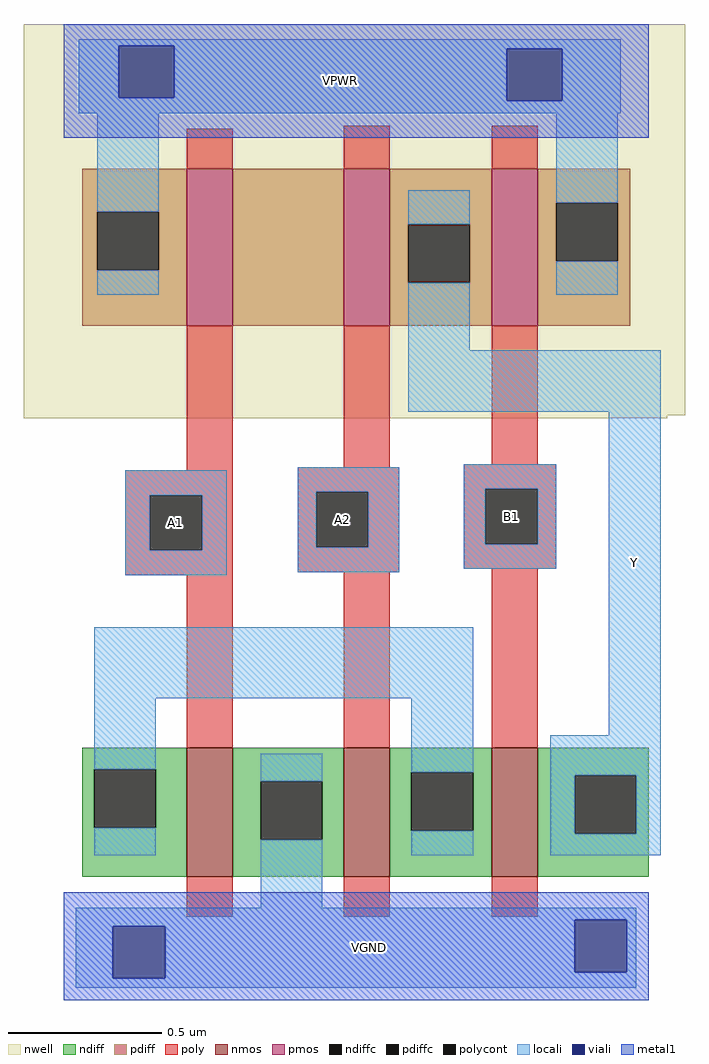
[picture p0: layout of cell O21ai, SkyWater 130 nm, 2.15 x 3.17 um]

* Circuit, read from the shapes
.subckt O21ai A2 B1 A1 Y VPWR VGND
XM1 VGND A1 n1 VSUBS sky130_fd_pr__nfet_01v8 w=0.42 l=0.15
XM2 n1 A2 VGND VSUBS sky130_fd_pr__nfet_01v8 w=0.42 l=0.15
XM3 Y B1 n1 VSUBS sky130_fd_pr__nfet_01v8 w=0.42 l=0.15
XM4 n2 A1 VPWR n3 sky130_fd_pr__pfet_01v8 w=0.51 l=0.15
XM5 Y A2 n2 n3 sky130_fd_pr__pfet_01v8 w=0.51 l=0.15
XM6 VPWR B1 Y n3 sky130_fd_pr__pfet_01v8 w=0.51 l=0.15
.ends

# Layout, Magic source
magic
tech sky130A
<< nwell >>
rect -13 170 202 297
rect -13 169 196 170
<< nmos >>
rect 40 20 55 62
rect 91 20 106 62
rect 139 20 154 62
<< pmos >>
rect 40 199 55 250
rect 91 199 106 250
rect 139 199 154 250
<< ndiff >>
rect 6 55 40 62
rect 6 36 10 55
rect 30 36 40 55
rect 6 20 40 36
rect 55 51 91 62
rect 55 32 64 51
rect 84 32 91 51
rect 55 20 91 32
rect 106 54 139 62
rect 106 35 113 54
rect 133 35 139 54
rect 106 20 139 35
rect 154 53 190 62
rect 154 34 166 53
rect 186 34 190 53
rect 154 20 190 34
<< pdiff >>
rect 6 236 40 250
rect 6 217 11 236
rect 31 217 40 236
rect 6 199 40 217
rect 55 199 91 250
rect 106 232 139 250
rect 106 213 112 232
rect 132 213 139 232
rect 106 199 139 213
rect 154 239 184 250
rect 154 220 160 239
rect 180 220 184 239
rect 154 199 184 220
<< ndiffc >>
rect 10 36 30 55
rect 64 32 84 51
rect 113 35 133 54
rect 166 34 186 53
<< pdiffc >>
rect 11 217 31 236
rect 112 213 132 232
rect 160 220 180 239
<< poly >>
rect 40 250 55 263
rect 91 250 106 264
rect 139 250 154 264
rect 40 152 55 199
rect 91 153 106 199
rect 139 154 154 199
rect 20 144 55 152
rect 20 126 28 144
rect 45 126 55 144
rect 20 118 55 126
rect 76 145 109 153
rect 76 127 82 145
rect 99 127 109 145
rect 76 119 109 127
rect 130 146 160 154
rect 130 128 137 146
rect 154 128 160 146
rect 130 120 160 128
rect 40 62 55 118
rect 91 62 106 119
rect 139 62 154 120
rect 40 7 55 20
rect 91 7 106 20
rect 139 7 154 20
<< polycont >>
rect 28 126 45 144
rect 82 127 99 145
rect 137 128 154 146
<< locali >>
rect 5 290 181 292
rect 5 273 18 290
rect 36 289 181 290
rect 36 273 144 289
rect 5 272 144 273
rect 162 272 181 289
rect 5 268 181 272
rect 11 236 31 268
rect 11 209 31 217
rect 112 232 132 243
rect 112 191 132 213
rect 160 239 180 268
rect 160 209 180 220
rect 112 171 194 191
rect 20 144 53 152
rect 20 126 28 144
rect 45 126 53 144
rect 20 118 53 126
rect 76 145 109 153
rect 76 127 82 145
rect 99 127 109 145
rect 76 119 109 127
rect 130 146 160 154
rect 130 128 137 146
rect 154 128 160 146
rect 130 120 160 128
rect 10 78 133 101
rect 10 55 30 78
rect 10 27 30 36
rect 64 51 84 60
rect 64 10 84 32
rect 113 54 133 78
rect 177 66 194 171
rect 113 27 133 35
rect 158 53 194 66
rect 158 34 166 53
rect 186 34 194 53
rect 158 27 194 34
rect 4 6 186 10
rect 4 4 166 6
rect 4 -13 16 4
rect 33 -11 166 4
rect 183 -11 186 6
rect 33 -13 186 -11
rect 4 -16 186 -13
<< viali >>
rect 18 273 36 290
rect 144 272 162 289
rect 16 -13 33 4
rect 166 -11 183 6
<< metal1 >>
rect 0 290 190 297
rect 0 273 18 290
rect 36 289 190 290
rect 36 273 144 289
rect 0 272 144 273
rect 162 272 190 289
rect 0 260 190 272
rect 0 6 190 15
rect 0 4 166 6
rect 0 -13 16 4
rect 33 -11 166 4
rect 183 -11 190 6
rect 33 -13 190 -11
rect 0 -20 190 -13
<< labels >>
flabel polycont 82 127 99 145 0 FreeSans 120 0 0 0 A2
port 1 nsew signal input
flabel polycont 137 128 154 146 0 FreeSans 120 0 0 0 B1
port 2 nsew signal input
flabel polycont 28 126 45 144 0 FreeSans 120 0 0 0 A1
port 3 nsew signal input
flabel locali 177 53 194 191 0 FreeSans 120 0 0 0 Y
port 4 nsew signal output
flabel metal1 36 260 144 297 0 FreeSans 120 0 0 0 VPWR
port 5 nsew power bidirectional
flabel locali 33 -16 166 10 0 FreeSans 120 0 0 0 VGND
port 6 nsew ground bidirectional
<< properties >>
string FIXED_BBOX 0 0 180 278
<< end >>
